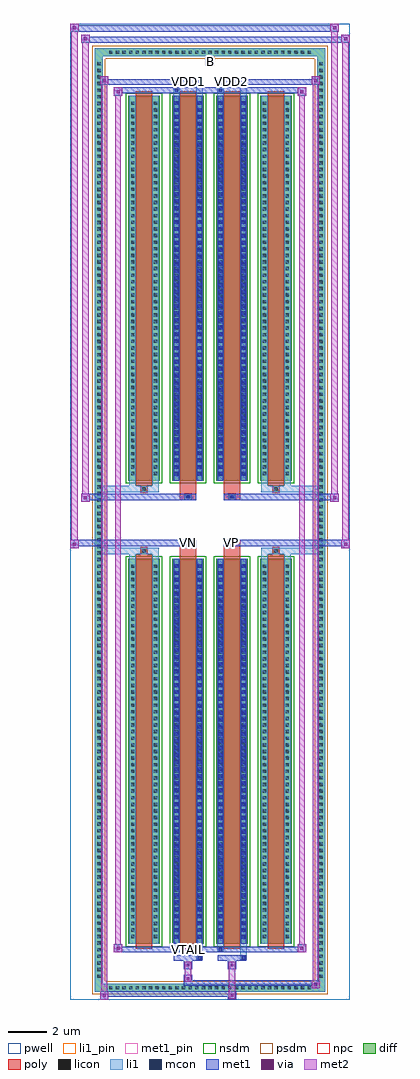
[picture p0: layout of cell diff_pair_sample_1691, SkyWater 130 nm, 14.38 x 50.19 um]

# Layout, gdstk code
import gdstk
lib = gdstk.Library(unit=1e-6, precision=5e-09)
def R(c, l, rs):  # rectangles x0, y0, x1, y1
    for r in rs: c.add(gdstk.rectangle(r[:2], r[2:], *l))
def A(c, l, x, y, w, h, nx, ny, dx, dy):  # array of equal rectangles
    R(c, l, [(x+i*dx, y+j*dy, x+i*dx+w, y+j*dy+h) for i in range(nx) for j in range(ny)])
def P(c, l, *ps):  # polygons
    for p in ps: c.add(gdstk.Polygon(p, *l))
pwell = (64, 44)
diff = (65, 20)
poly = (66, 20)
licon = (66, 44)
li1_pin = (67, 16)
li1 = (67, 20)
mcon = (67, 44)
met1_pin = (68, 16)
met1 = (68, 20)
via = (68, 44)
met2 = (69, 20)
nsdm = (93, 44)
psdm = (94, 20)
npc = (95, 20)

diff_pair_sample_1691 = lib.new_cell('diff_pair_sample_1691')
R(diff_pair_sample_1691, pwell, [(-7.19,-24.66,7.19,25.53), (-4.51,-22.85,-0.01,-0.825), (0.01,-22.85,4.51,-0.825), (-4.51,0.825,-0.01,22.85), (0.01,0.825,4.51,22.85)])
A(diff_pair_sample_1691, diff, -5.305, -24.26, 0.41, 0.41, 31, 2, 0.34, 48.11)
A(diff_pair_sample_1691, diff, -5.92, -23.665, 0.41, 0.41, 1, 139, 0, 0.34)
A(diff_pair_sample_1691, diff, 5.51, -23.665, 0.41, 0.41, 1, 139, 0, 0.34)
A(diff_pair_sample_1691, diff, -4.2, -21.805, 1.62, 19.8, 4, 2, 2.26, 23.81)
R(diff_pair_sample_1691, diff, [(-5.305,-24.26,5.305,-23.85), (-5.92,-23.665,-5.51,23.665), (5.51,-23.665,5.92,23.665), (-5.305,23.85,5.305,24.26)])
P(diff_pair_sample_1691, diff, [(5.92,24.26),(-5.92,24.26),(-5.92,-23.85),(-5.51,-23.85),(-5.51,23.85),(5.51,23.85),(5.51,-23.85),(-5.51,-23.85),(-5.92,-23.85),(-5.92,-24.26),(5.92,-24.26)])
A(diff_pair_sample_1691, poly, -3.81, -22.055, 0.84, 20.3, 4, 2, 2.26, 23.81)
R(diff_pair_sample_1691, poly, [(-3.555,-1.755,-3.225,-1.425), (-3.555,-1.755,-3.225,-1.425), (-1.55,-1.755,-0.71,-1.355), (0.71,-1.755,1.55,-1.355), (3.225,-1.755,3.555,-1.425), (3.225,-1.755,3.555,-1.425), (-1.55,-1.355,-0.71,-1.025), (-1.295,-1.355,-0.965,-1.025), (0.71,-1.355,1.55,-1.025), (0.965,-1.355,1.295,-1.025), (-1.55,1.025,-0.71,1.355), (-1.295,1.025,-0.965,1.355), (0.71,1.025,1.55,1.355), (0.965,1.025,1.295,1.355), (-1.55,1.355,-0.71,1.755), (0.71,1.355,1.55,1.755), (-3.555,1.425,-3.225,1.755), (-3.555,1.425,-3.225,1.755), (3.225,1.425,3.555,1.755), (3.225,1.425,3.555,1.755)])
A(diff_pair_sample_1691, licon, -5.185, -24.14, 0.17, 0.17, 31, 2, 0.34, 48.11)
A(diff_pair_sample_1691, licon, -5.8, -23.545, 0.17, 0.17, 1, 139, 0, 0.34)
A(diff_pair_sample_1691, licon, 5.63, -23.545, 0.17, 0.17, 1, 139, 0, 0.34)
A(diff_pair_sample_1691, licon, -4.06, -21.51, 0.17, 0.17, 1, 57, 0, 0.34)
A(diff_pair_sample_1691, licon, -2.89, -21.51, 0.17, 0.17, 1, 57, 0, 0.34)
A(diff_pair_sample_1691, licon, -1.8, -21.51, 0.17, 0.17, 1, 57, 0, 0.34)
A(diff_pair_sample_1691, licon, -0.63, -21.51, 0.17, 0.17, 1, 57, 0, 0.34)
A(diff_pair_sample_1691, licon, 0.46, -21.51, 0.17, 0.17, 1, 57, 0, 0.34)
A(diff_pair_sample_1691, licon, 1.63, -21.51, 0.17, 0.17, 1, 57, 0, 0.34)
A(diff_pair_sample_1691, licon, 2.72, -21.51, 0.17, 0.17, 1, 57, 0, 0.34)
A(diff_pair_sample_1691, licon, 3.89, -21.51, 0.17, 0.17, 1, 57, 0, 0.34)
A(diff_pair_sample_1691, licon, -4.06, 2.3, 0.17, 0.17, 1, 57, 0, 0.34)
A(diff_pair_sample_1691, licon, -2.89, 2.3, 0.17, 0.17, 1, 57, 0, 0.34)
A(diff_pair_sample_1691, licon, -1.8, 2.3, 0.17, 0.17, 1, 57, 0, 0.34)
A(diff_pair_sample_1691, licon, -0.63, 2.3, 0.17, 0.17, 1, 57, 0, 0.34)
A(diff_pair_sample_1691, licon, 0.46, 2.3, 0.17, 0.17, 1, 57, 0, 0.34)
A(diff_pair_sample_1691, licon, 1.63, 2.3, 0.17, 0.17, 1, 57, 0, 0.34)
A(diff_pair_sample_1691, licon, 2.72, 2.3, 0.17, 0.17, 1, 57, 0, 0.34)
A(diff_pair_sample_1691, licon, 3.89, 2.3, 0.17, 0.17, 1, 57, 0, 0.34)
R(diff_pair_sample_1691, licon, [(-3.475,-1.675,-3.305,-1.505), (3.305,-1.675,3.475,-1.505), (-1.215,-1.275,-1.045,-1.105), (1.045,-1.275,1.215,-1.105), (-1.215,1.105,-1.045,1.275), (1.045,1.105,1.215,1.275), (-3.475,1.505,-3.305,1.675), (3.305,1.505,3.475,1.675)])
R(diff_pair_sample_1691, li1_pin, [(-0.25,23.35,0.25,23.85)])
A(diff_pair_sample_1691, li1, -5.265, -24.22, 0.33, 0.33, 31, 2, 0.34, 48.11)
A(diff_pair_sample_1691, li1, -5.88, -23.625, 0.33, 0.33, 1, 139, 0, 0.34)
A(diff_pair_sample_1691, li1, 5.55, -23.625, 0.33, 0.33, 1, 139, 0, 0.34)
A(diff_pair_sample_1691, li1, -4.14, -21.59, 0.33, 0.33, 1, 57, 0, 0.34)
A(diff_pair_sample_1691, li1, -2.97, -21.59, 0.33, 0.33, 1, 57, 0, 0.34)
A(diff_pair_sample_1691, li1, -1.88, -21.59, 0.33, 0.33, 1, 57, 0, 0.34)
A(diff_pair_sample_1691, li1, -0.71, -21.59, 0.33, 0.33, 1, 57, 0, 0.34)
A(diff_pair_sample_1691, li1, 0.38, -21.59, 0.33, 0.33, 1, 57, 0, 0.34)
A(diff_pair_sample_1691, li1, 1.55, -21.59, 0.33, 0.33, 1, 57, 0, 0.34)
A(diff_pair_sample_1691, li1, 2.64, -21.59, 0.33, 0.33, 1, 57, 0, 0.34)
A(diff_pair_sample_1691, li1, 3.81, -21.59, 0.33, 0.33, 1, 57, 0, 0.34)
A(diff_pair_sample_1691, li1, -1.8, -21.53, 0.17, 0.17, 1, 54, 0, 0.36)
A(diff_pair_sample_1691, li1, -0.63, -21.53, 0.17, 0.17, 1, 54, 0, 0.36)
A(diff_pair_sample_1691, li1, 0.46, -21.53, 0.17, 0.17, 1, 54, 0, 0.36)
A(diff_pair_sample_1691, li1, 1.63, -21.53, 0.17, 0.17, 1, 54, 0, 0.36)
A(diff_pair_sample_1691, li1, -4.14, 2.22, 0.33, 0.33, 1, 57, 0, 0.34)
A(diff_pair_sample_1691, li1, -2.97, 2.22, 0.33, 0.33, 1, 57, 0, 0.34)
A(diff_pair_sample_1691, li1, -1.88, 2.22, 0.33, 0.33, 1, 57, 0, 0.34)
A(diff_pair_sample_1691, li1, -0.71, 2.22, 0.33, 0.33, 1, 57, 0, 0.34)
A(diff_pair_sample_1691, li1, 0.38, 2.22, 0.33, 0.33, 1, 57, 0, 0.34)
A(diff_pair_sample_1691, li1, 1.55, 2.22, 0.33, 0.33, 1, 57, 0, 0.34)
A(diff_pair_sample_1691, li1, 2.64, 2.22, 0.33, 0.33, 1, 57, 0, 0.34)
A(diff_pair_sample_1691, li1, 3.81, 2.22, 0.33, 0.33, 1, 57, 0, 0.34)
A(diff_pair_sample_1691, li1, -1.8, 2.28, 0.17, 0.17, 1, 54, 0, 0.36)
A(diff_pair_sample_1691, li1, -0.63, 2.28, 0.17, 0.17, 1, 54, 0, 0.36)
A(diff_pair_sample_1691, li1, 0.46, 2.28, 0.17, 0.17, 1, 54, 0, 0.36)
A(diff_pair_sample_1691, li1, 1.63, 2.28, 0.17, 0.17, 1, 54, 0, 0.36)
R(diff_pair_sample_1691, li1, [(-5.92,-24.26,-5.51,-23.85), (-5.92,-24.26,-5.51,-23.85), (-5.51,-24.26,5.51,-23.85), (5.51,-24.26,5.92,-23.85), (5.51,-24.26,5.92,-23.85), (-5.92,-23.85,-5.51,23.85), (5.51,-23.85,5.92,23.85), (-0.71,-22.61,-0.38,-21.805), (-0.63,-22.61,-0.46,-22.44), (1.55,-22.61,1.88,-21.805), (1.63,-22.61,1.8,-22.44), (-1.88,-22.18,-1.55,-21.805), (-1.8,-22.18,-1.63,-22.01), (0.38,-22.18,0.71,-21.805), (0.46,-22.18,0.63,-22.01), (-4.14,-21.805,-3.81,-2.005), (-2.97,-21.805,-2.64,-2.005), (-1.88,-21.805,-1.55,-2.005), (-0.71,-21.805,-0.38,-2.005), (0.38,-21.805,0.71,-2.005), (1.55,-21.805,1.88,-2.005), (2.64,-21.805,2.97,-2.005), (3.81,-21.805,4.14,-2.005), (-1.8,-21.53,-1.63,-2.28), (-0.63,-21.53,-0.46,-2.28), (0.46,-21.53,0.63,-2.28), (1.63,-21.53,1.8,-2.28), (-4.14,-2.005,-3.81,-1.425), (-2.97,-2.005,-2.64,-1.425), (2.64,-2.005,2.97,-1.425), (3.81,-2.005,4.14,-1.425), (-5.92,-1.755,-3.555,-1.425), (-4.14,-1.755,-3.555,-1.425), (-3.555,-1.755,-3.225,-1.425), (-3.225,-1.755,-2.64,-1.425), (2.64,-1.755,3.225,-1.425), (3.225,-1.755,3.555,-1.425), (3.225,-1.755,5.92,-1.425), (3.555,-1.755,4.14,-1.425), (-1.295,-1.355,-0.965,-1.025), (0.965,-1.355,1.295,-1.025), (-1.295,1.025,-0.965,1.355), (0.965,1.025,1.295,1.355), (-5.92,1.425,-3.555,1.755), (-4.14,1.425,-3.555,1.755), (-4.14,1.425,-3.81,2.005), (-3.555,1.425,-3.225,1.755), (-3.225,1.425,-2.64,1.755), (-2.97,1.425,-2.64,2.005), (2.64,1.425,3.225,1.755), (2.64,1.425,2.97,2.005), (3.225,1.425,3.555,1.755), (3.225,1.425,5.92,1.755), (3.555,1.425,4.14,1.755), (3.81,1.425,4.14,2.005), (-4.14,2.005,-3.81,21.805), (-2.97,2.005,-2.64,21.805), (-1.88,2.005,-1.55,21.805), (-0.71,2.005,-0.38,21.805), (0.38,2.005,0.71,21.805), (1.55,2.005,1.88,21.805), (2.64,2.005,2.97,21.805), (3.81,2.005,4.14,21.805), (-1.8,2.28,-1.63,21.53), (-0.63,2.28,-0.46,21.53), (0.46,2.28,0.63,21.53), (1.63,2.28,1.8,21.53), (-1.88,21.805,-1.55,22.18), (-0.71,21.805,-0.38,22.61), (0.38,21.805,0.71,22.18), (1.55,21.805,1.88,22.61), (-1.8,22.01,-1.63,22.18), (0.46,22.01,0.63,22.18), (-0.63,22.44,-0.46,22.61), (1.63,22.44,1.8,22.61), (-5.92,23.85,-5.51,24.26), (-5.92,23.85,-5.51,24.26), (-5.51,23.85,5.51,24.26), (5.51,23.85,5.92,24.26), (5.51,23.85,5.92,24.26)])
A(diff_pair_sample_1691, mcon, -1.8, -21.53, 0.17, 0.17, 1, 54, 0, 0.36)
A(diff_pair_sample_1691, mcon, -0.63, -21.53, 0.17, 0.17, 1, 54, 0, 0.36)
A(diff_pair_sample_1691, mcon, 0.46, -21.53, 0.17, 0.17, 1, 54, 0, 0.36)
A(diff_pair_sample_1691, mcon, 1.63, -21.53, 0.17, 0.17, 1, 54, 0, 0.36)
A(diff_pair_sample_1691, mcon, -1.8, 2.28, 0.17, 0.17, 1, 54, 0, 0.36)
A(diff_pair_sample_1691, mcon, -0.63, 2.28, 0.17, 0.17, 1, 54, 0, 0.36)
A(diff_pair_sample_1691, mcon, 0.46, 2.28, 0.17, 0.17, 1, 54, 0, 0.36)
A(diff_pair_sample_1691, mcon, 1.63, 2.28, 0.17, 0.17, 1, 54, 0, 0.36)
R(diff_pair_sample_1691, mcon, [(-0.63,-22.61,-0.46,-22.44), (1.63,-22.61,1.8,-22.44), (-1.8,-22.18,-1.63,-22.01), (0.46,-22.18,0.63,-22.01), (-1.215,-1.275,-1.045,-1.105), (1.045,-1.275,1.215,-1.105), (-1.215,1.105,-1.045,1.275), (1.045,1.105,1.215,1.275), (-1.8,22.01,-1.63,22.18), (0.46,22.01,0.63,22.18), (-0.63,22.44,-0.46,22.61), (1.63,22.44,1.8,22.61)])
R(diff_pair_sample_1691, met1_pin, [(-1.265,-22.22,-0.995,-21.95), (-1.265,-1.295,-0.995,-1.025), (0.995,-1.295,1.265,-1.025), (-1.265,22.4,-0.995,22.67), (0.995,22.4,1.265,22.67)])
A(diff_pair_sample_1691, met1, -1.86, -21.59, 0.29, 0.29, 1, 54, 0, 0.36)
A(diff_pair_sample_1691, met1, -0.69, -21.59, 0.29, 0.29, 1, 54, 0, 0.36)
A(diff_pair_sample_1691, met1, 0.4, -21.59, 0.29, 0.29, 1, 54, 0, 0.36)
A(diff_pair_sample_1691, met1, 1.57, -21.59, 0.29, 0.29, 1, 54, 0, 0.36)
A(diff_pair_sample_1691, met1, -1.86, 2.22, 0.29, 0.29, 1, 54, 0, 0.36)
A(diff_pair_sample_1691, met1, -0.69, 2.22, 0.29, 0.29, 1, 54, 0, 0.36)
A(diff_pair_sample_1691, met1, 0.4, 2.22, 0.29, 0.29, 1, 54, 0, 0.36)
A(diff_pair_sample_1691, met1, 1.57, 2.22, 0.29, 0.29, 1, 54, 0, 0.36)
R(diff_pair_sample_1691, met1, [(-5.65,-24.66,-5.22,-24.23), (0.915,-24.66,1.345,-24.23), (-5.65,-24.52,1.345,-24.23), (5.22,-24.09,5.65,-23.66), (-1.345,-23.95,5.65,-23.66), (-1.345,-23.81,-0.915,-23.38), (-1.345,-23.1,-0.915,-22.67), (0.915,-23.1,1.345,-22.67), (-1.86,-22.67,-0.4,-22.38), (-0.69,-22.67,-0.4,-22.38), (0.4,-22.67,1.86,-22.38), (1.57,-22.67,1.86,-22.38), (-4.94,-22.24,-4.51,-21.81), (-4.94,-22.24,-1.86,-21.95), (-1.86,-22.24,-1.57,-21.95), (-1.86,-22.24,-0.4,-21.95), (-0.4,-22.24,0.4,-21.95), (0.4,-22.24,0.69,-21.95), (0.4,-22.24,1.86,-21.95), (1.86,-22.24,4.94,-21.95), (4.51,-22.24,4.94,-21.81), (-1.86,-21.805,-1.57,-2.005), (-0.69,-21.805,-0.4,-2.005), (0.4,-21.805,0.69,-2.005), (1.57,-21.805,1.86,-2.005), (-7.19,-1.455,-6.76,-1.025), (6.76,-1.455,7.19,-1.025), (-7.19,-1.355,-0.71,-1.025), (-1.55,-1.355,-0.71,-1.025), (0.71,-1.355,1.55,-1.025), (0.71,-1.355,7.19,-1.025), (-1.275,-1.335,-0.985,-1.045), (0.985,-1.335,1.275,-1.045), (-6.62,0.925,-6.19,1.355), (6.19,0.925,6.62,1.355), (-6.62,1.025,-1.55,1.355), (-1.55,1.025,-0.71,1.355), (0.71,1.025,1.55,1.355), (1.55,1.025,6.62,1.355), (-1.275,1.045,-0.985,1.335), (0.985,1.045,1.275,1.335), (-1.86,2.005,-1.57,21.805), (-0.69,2.005,-0.4,21.805), (0.4,2.005,0.69,21.805), (1.57,2.005,1.86,21.805), (-4.94,21.81,-4.51,22.24), (4.51,21.81,4.94,22.24), (-4.94,21.95,-1.86,22.24), (-1.86,21.95,-1.57,22.24), (-1.86,21.95,-0.4,22.24), (-0.4,21.95,0.4,22.24), (0.4,21.95,0.69,22.24), (0.4,21.95,1.86,22.24), (1.86,21.95,4.94,22.24), (-5.65,22.38,-5.22,22.81), (-5.65,22.38,-1.86,22.67), (-1.86,22.38,-0.4,22.67), (-0.69,22.38,-0.4,22.67), (0.4,22.38,1.86,22.67), (1.57,22.38,1.86,22.67), (1.86,22.38,5.65,22.67), (5.22,22.38,5.65,22.81), (-6.62,24.53,-6.19,24.96), (-6.62,24.53,-4.51,24.86), (-4.51,24.53,4.51,24.86), (4.51,24.53,7.19,24.86), (6.76,24.53,7.19,24.96), (-7.19,25.1,-6.76,25.53), (-7.19,25.1,-4.51,25.43), (-4.51,25.1,4.51,25.43), (4.51,25.1,6.62,25.43), (6.19,25.1,6.62,25.53)])
R(diff_pair_sample_1691, via, [(-5.51,-24.52,-5.36,-24.37), (1.055,-24.52,1.205,-24.37), (5.36,-23.95,5.51,-23.8), (-1.205,-23.67,-1.055,-23.52), (-1.205,-22.96,-1.055,-22.81), (1.055,-22.96,1.205,-22.81), (-4.8,-22.1,-4.65,-21.95), (4.65,-22.1,4.8,-21.95), (-7.05,-1.315,-6.9,-1.165), (6.9,-1.315,7.05,-1.165), (-6.48,1.065,-6.33,1.215), (6.33,1.065,6.48,1.215), (-4.8,21.95,-4.65,22.1), (4.65,21.95,4.8,22.1), (-5.51,22.52,-5.36,22.67), (5.36,22.52,5.51,22.67), (-6.48,24.67,-6.33,24.82), (6.9,24.67,7.05,24.82), (-7.05,25.24,-6.9,25.39), (6.33,25.24,6.48,25.39)])
R(diff_pair_sample_1691, met2, [(-5.65,-24.66,-5.22,-24.23), (-5.58,-24.66,-5.29,22.81), (-5.29,-24.66,-5.22,-24.23), (-5.6,-24.61,-5.27,-24.28), (0.965,-24.61,1.295,-24.28), (0.965,-24.28,1.295,-23.05), (5.22,-24.09,5.65,-23.66), (5.29,-24.09,5.58,22.81), (5.58,-24.09,5.65,-23.66), (5.27,-24.04,5.6,-23.71), (-1.295,-23.76,-0.965,-23.43), (-1.295,-23.43,-0.965,-23.05), (-1.295,-23.05,-0.965,-22.72), (0.965,-23.05,1.295,-22.72), (-4.94,-22.24,-4.51,-21.81), (-4.87,-22.24,-4.58,22.24), (-4.58,-22.24,-4.51,-21.81), (4.51,-22.24,4.94,-21.81), (4.58,-22.24,4.87,22.24), (4.87,-22.24,4.94,-21.81), (-4.89,-22.19,-4.56,-21.86), (4.56,-22.19,4.89,-21.86), (-7.19,-1.455,-6.76,-1.025), (-7.14,-1.455,-6.81,25.53), (-6.81,-1.455,-6.76,-1.025), (6.76,-1.455,7.19,-1.025), (6.81,-1.455,7.14,24.96), (7.14,-1.455,7.19,-1.025), (-7.14,-1.405,-6.81,-1.075), (6.81,-1.405,7.14,-1.075), (-6.62,0.925,-6.19,1.355), (-6.57,0.925,-6.24,24.96), (-6.24,0.925,-6.19,1.355), (6.19,0.925,6.62,1.355), (6.24,0.925,6.57,25.53), (6.57,0.925,6.62,1.355), (-6.57,0.975,-6.24,1.305), (6.24,0.975,6.57,1.305), (-4.94,21.81,-4.51,22.24), (-4.58,21.81,-4.51,22.24), (4.51,21.81,4.94,22.24), (4.87,21.81,4.94,22.24), (-4.89,21.86,-4.56,22.19), (4.56,21.86,4.89,22.19), (-5.65,22.38,-5.22,22.81), (-5.29,22.38,-5.22,22.81), (5.22,22.38,5.65,22.81), (5.58,22.38,5.65,22.81), (-5.6,22.43,-5.27,22.76), (5.27,22.43,5.6,22.76), (-6.62,24.53,-6.19,24.96), (-6.24,24.53,-6.19,24.96), (6.76,24.53,7.19,24.96), (7.14,24.53,7.19,24.96), (-6.57,24.58,-6.24,24.91), (6.81,24.58,7.14,24.91), (-7.19,25.1,-6.76,25.53), (-6.81,25.1,-6.76,25.53), (6.19,25.1,6.62,25.53), (6.57,25.1,6.62,25.53), (-7.14,25.15,-6.81,25.48), (6.24,25.15,6.57,25.48)])
A(diff_pair_sample_1691, nsdm, -4.33, -21.935, 1.88, 20.06, 4, 2, 2.26, 23.81)
P(diff_pair_sample_1691, psdm, [(6.05,24.39),(-6.05,24.39),(-6.05,-23.72),(-5.38,-23.72),(-5.38,23.72),(5.38,23.72),(5.38,-23.72),(-5.38,-23.72),(-6.05,-23.72),(-6.05,-24.39),(6.05,-24.39)])
R(diff_pair_sample_1691, npc, [(-3.575,-1.775,-3.205,-1.405), (3.205,-1.775,3.575,-1.405), (-1.315,-1.375,-0.945,-1.005), (0.945,-1.375,1.315,-1.005), (-1.315,1.005,-0.945,1.375), (0.945,1.005,1.315,1.375), (-3.575,1.405,-3.205,1.775), (3.205,1.405,3.575,1.775)])
diff_pair_sample_1691.add(gdstk.Label('VTAIL', (-1.13,-22.085), layer=68, texttype=5))
diff_pair_sample_1691.add(gdstk.Label('VN', (-1.13,-1.16), layer=68, texttype=5))
diff_pair_sample_1691.add(gdstk.Label('VP', (1.13,-1.16), layer=68, texttype=5))
diff_pair_sample_1691.add(gdstk.Label('B', (0,23.6), layer=67, texttype=5))
diff_pair_sample_1691.add(gdstk.Label('VDD2', (1.13,22.535), layer=68, texttype=5))
diff_pair_sample_1691.add(gdstk.Label('VDD1', (-1.13,22.535), layer=68, texttype=5))

lib.write_gds('diff_pair_sample_1691.gds')
